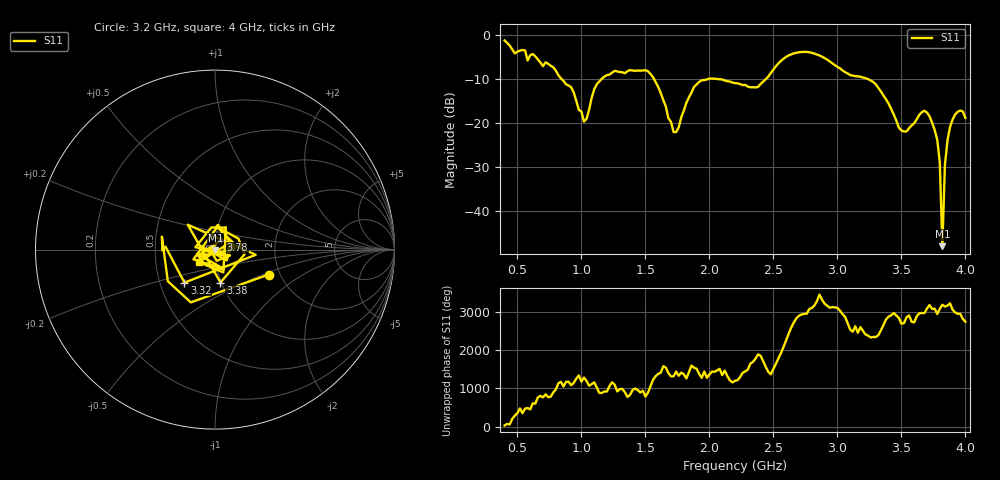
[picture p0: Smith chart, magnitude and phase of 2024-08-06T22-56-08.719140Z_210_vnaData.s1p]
!Created with skrf (http://scikit-rf.org).
# Hz S RI R 50.0
!freq ReS11 ImS11
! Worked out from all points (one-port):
!   181 points, 400 MHz to 4 GHz, reference 50 ohm
!   lowest |S11| = -48.1 dB at 3.82 GHz (marker M1), VSWR 1.01, Z = 50.2 - j0.335 ohm
!   |S11| at or under -10 dB: 1.567 GHz to 1.988 GHz (420.5 MHz wide, 23.7 % of centre); 2.068 GHz to 2.441 GHz (372.8 MHz wide, 16.5 % of centre); 3.24 GHz to end of sweep (the widest 3 of 4)
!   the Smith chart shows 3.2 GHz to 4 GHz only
!   S11 on the Smith chart (normalised r, x): 3.2 GHz: 1.74, -0.54; 3.32 GHz: 0.67, -0.26; 3.38 GHz: 0.99, -0.38; 3.78 GHz: 1.06, +0.12; 4 GHz: 0.83, -0.12
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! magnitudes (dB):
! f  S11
! 400 MHz  -1.2
! 860 MHz  -10.4
! 920 MHz  -11.8
! 1.02 GHz  -19.7
! 1.12 GHz  -11.2
! 1.3 GHz  -8.4
! 1.52 GHz  -8.2
! 1.6 GHz  -11.8
! 1.72 GHz  -22.1
! 1.76 GHz  -21.0
! 1.92 GHz  -10.6
! 2.2 GHz  -10.9
! 2.38 GHz  -11.8
! 2.66 GHz  -4.1
! 3.1 GHz  -9.1
! 3.2 GHz  -9.6
! 3.32 GHz  -12.0
! 3.38 GHz  -14.6
! 3.48 GHz  -21.0
! 3.56 GHz  -21.2
! 3.68 GHz  -17.2
! 3.78 GHz  -23.8
! 3.8 GHz  -28.9
! 3.82 GHz  -48.1
! 3.84 GHz  -29.6
! 3.86 GHz  -24.0
! 3.92 GHz  -18.1
! 4 GHz  -18.8
